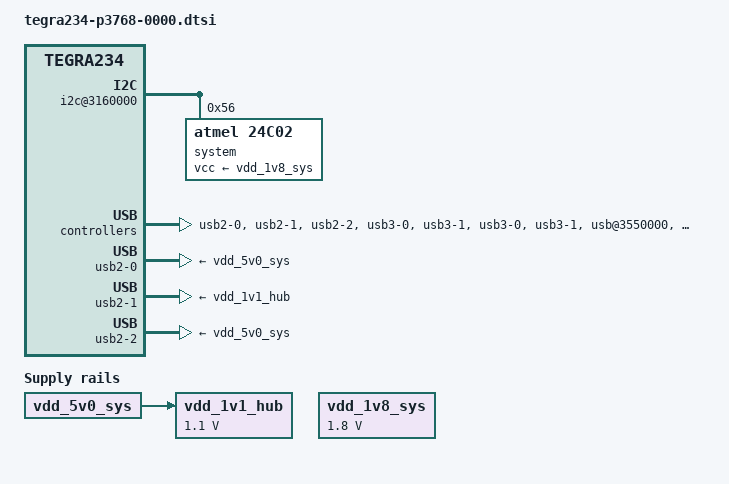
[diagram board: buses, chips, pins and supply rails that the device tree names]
// SPDX-License-Identifier: GPL-2.0

/ {
	compatible = "nvidia,p3768-0000";

	bus@0 {
		i2c@3160000 {
			status = "okay";

			eeprom@56 {
				compatible = "atmel,24c02";
				reg = <0x56>;

				label = "system";
				vcc-supply = <&vdd_1v8_sys>;
				address-width = <8>;
				pagesize = <8>;
				size = <256>;
				read-only;
			};
		};

		padctl@3520000 {
			pads {
				usb2 {
					lanes {
						usb2-0 {
							nvidia,function = "xusb";
							status = "okay";
						};

						usb2-1 {
							nvidia,function = "xusb";
							status = "okay";
						};

						usb2-2 {
							nvidia,function = "xusb";
							status = "okay";
						};
					};
				};

				usb3 {
					lanes {
						usb3-0 {
							nvidia,function = "xusb";
							status = "okay";
						};

						usb3-1 {
							nvidia,function = "xusb";
							status = "okay";
						};
					};
				};
			};

			ports {
				/* recovery port */
				usb2-0 {
					mode = "otg";
					vbus-supply = <&vdd_5v0_sys>;
					status = "okay";
					usb-role-switch;
				};

				/* hub */
				usb2-1 {
					mode = "host";
					vbus-supply = <&vdd_1v1_hub>;
					status = "okay";
				};

				/* M.2 Key-E */
				usb2-2 {
					mode = "host";
					vbus-supply = <&vdd_5v0_sys>;
					status = "okay";
				};

				/* hub */
				usb3-0 {
					nvidia,usb2-companion = <1>;
					status = "okay";
				};

				/* J5 */
				usb3-1 {
					nvidia,usb2-companion = <0>;
					status = "okay";
				};
			};
		};

		usb@3550000 {
			status = "okay";

			phys = <&{/bus@0/padctl@3520000/pads/usb2/lanes/usb2-0}>,
			       <&{/bus@0/padctl@3520000/pads/usb3/lanes/usb3-1}>;
			phy-names = "usb2-0", "usb3-1";
		};

		usb@3610000 {
			status = "okay";

			phys = <&{/bus@0/padctl@3520000/pads/usb2/lanes/usb2-0}>,
			       <&{/bus@0/padctl@3520000/pads/usb2/lanes/usb2-1}>,
			       <&{/bus@0/padctl@3520000/pads/usb2/lanes/usb2-2}>,
			       <&{/bus@0/padctl@3520000/pads/usb3/lanes/usb3-0}>,
			       <&{/bus@0/padctl@3520000/pads/usb3/lanes/usb3-1}>;
			phy-names = "usb2-0", "usb2-1", "usb2-2", "usb3-0",
				    "usb3-1";
		};
	};

	vdd_1v8_sys: regulator-vdd-1v8-sys {
		compatible = "regulator-fixed";
		regulator-name = "VDD_1V8_SYS";
		regulator-min-microvolt = <1800000>;
		regulator-max-microvolt = <1800000>;
		regulator-always-on;
	};

	vdd_1v1_hub: regulator-vdd-1v1-hub {
		compatible = "regulator-fixed";
		regulator-name = "VDD_AV10_HUB";
		regulator-min-microvolt = <1100000>;
		regulator-max-microvolt = <1100000>;
		vin-supply = <&vdd_5v0_sys>;
		regulator-always-on;
	};
};
